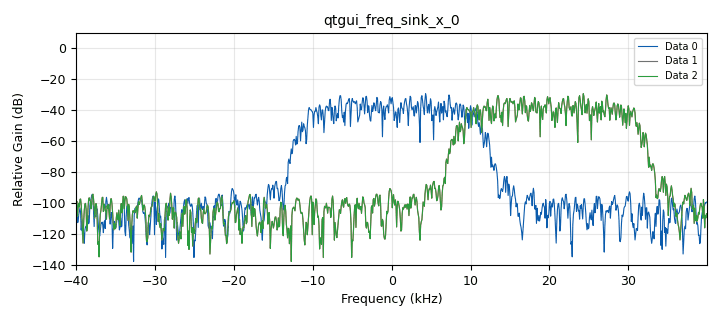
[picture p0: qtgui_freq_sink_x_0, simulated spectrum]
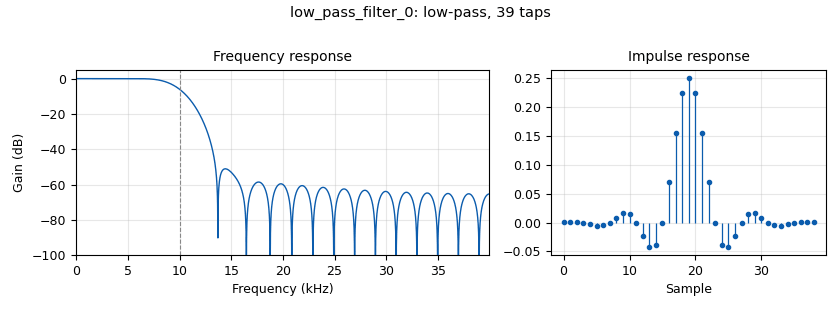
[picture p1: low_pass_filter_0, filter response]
options:
  parameters:
    generate_options: qt_gui
    id: Frequency_Shift
    output_language: python
    title: Frequency_Shift
  states: {}

blocks:
- name: new_center_frequency
  id: variable_qtgui_range
  parameters:
    start: '0'
    step: 1e5
    stop: 1e6
    value: 500e3
  states: {}
- name: new_center_frequency
  id: variable
  parameters:
    value: 500e3
  states: {state: disabled}
- name: samp_rate
  id: variable
  parameters:
    value: 80e3
  states: {}
- name: analog_noise_source_x_0
  id: analog_noise_source_x
  parameters:
    amp: '1'
    noise_type: analog.GR_GAUSSIAN
    seed: '0'
    type: complex
  states: {}
- name: analog_sig_source_x_0
  id: analog_sig_source_x
  parameters:
    amp: '1'
    freq: new_center_frequency
    offset: '0'
    phase: '0'
    samp_rate: samp_rate
    type: complex
    waveform: analog.GR_COS_WAVE
  states: {}
- name: blocks_freqshift_cc_0
  id: blocks_freqshift_cc
  parameters:
    freq: new_center_frequency
    sample_rate: samp_rate
  states: {}
- name: blocks_multiply_xx_0
  id: blocks_multiply_xx
  parameters:
    type: complex
  states: {}
- name: blocks_throttle2_0
  id: blocks_throttle2
  parameters:
    samples_per_second: samp_rate
    type: complex
  states: {}
- name: low_pass_filter_0
  id: low_pass_filter
  parameters:
    cutoff_freq: samp_rate/8
    decim: '1'
    gain: '1'
    samp_rate: samp_rate
    type: fir_filter_ccf
    width: samp_rate/16
    win: window.WIN_HAMMING
  states: {}
- name: qtgui_freq_sink_x_0
  id: qtgui_freq_sink_x
  parameters:
    bw: samp_rate
    fc: '0'
    fftsize: '1024'
    nconnections: '3'
    type: complex
  states: {}

connections:
- [analog_noise_source_x_0, '0', blocks_throttle2_0, '0']
- [analog_sig_source_x_0, '0', blocks_multiply_xx_0, '1']
- [blocks_freqshift_cc_0, '0', qtgui_freq_sink_x_0, '2']
- [blocks_multiply_xx_0, '0', qtgui_freq_sink_x_0, '1']
- [blocks_throttle2_0, '0', low_pass_filter_0, '0']
- [low_pass_filter_0, '0', blocks_freqshift_cc_0, '0']
- [low_pass_filter_0, '0', blocks_multiply_xx_0, '0']
- [low_pass_filter_0, '0', qtgui_freq_sink_x_0, '0']

metadata:
  file_format: 1
  grc_version: 3.10.10.0
